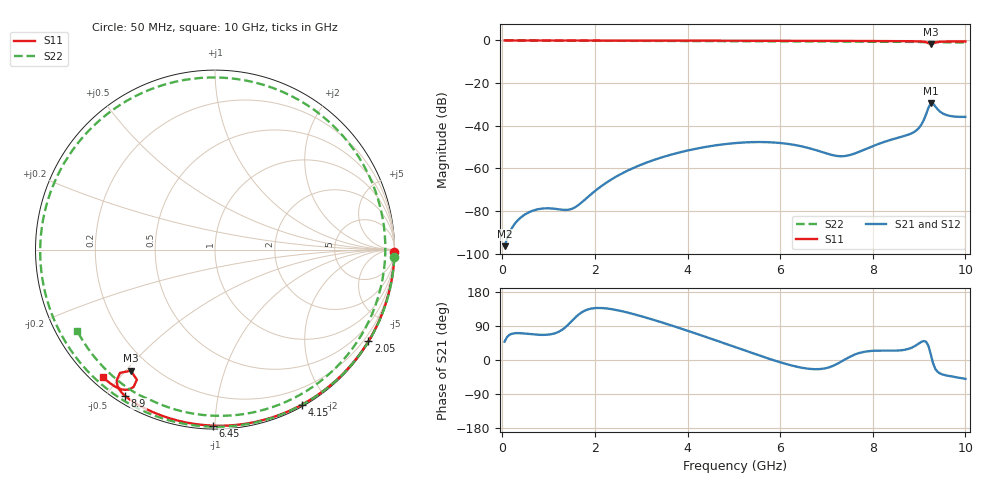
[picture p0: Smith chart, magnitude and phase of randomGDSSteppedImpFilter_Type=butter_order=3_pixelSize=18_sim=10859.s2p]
! freq	dB(S11)	phase(S11)	dB(S12)	phase(S12)
!  dB(S21)	phase(S21)	dB(S22)	phase(S22)
!S-par simulation data
#  GHz  S  DB  R 50
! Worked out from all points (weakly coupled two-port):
!   200 points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, 50 MHz to 10 GHz, reference 50 ohm
!   highest |S21| = -29.54 dB at 9.25 GHz (marker M1); lowest = -96.5 dB at 50 MHz (marker M2)
!   lowest |S11| = -1.7 dB at 9.25 GHz (marker M3), VSWR 10.24, Z = 6.2 - j25.8 ohm
!   |S11| at or under -10 dB: nowhere
!   |S22| runs from -1.0 to 0.0 dB; largest |S21 - S12| = 0
!   S11 on the Smith chart (normalised r, x): 50 MHz: open; 2.05 GHz: 0.03, -3.63; 4.15 GHz: 0.02, -1.71; 6.45 GHz: 0.02, -0.99; 8.9 GHz: 0.03, -0.56; 10 GHz: 0.03, -0.45
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0.05  -0.00 -0.8  -96.52 48.4  -96.52 48.4  -0.00 -2.4
0.5  -0.01 -7.6  -81.51 69.7  -81.51 69.7  -0.02 -24.2
1  -0.02 -15.2  -78.75 67.1  -78.75 67.1  -0.06 -47.9
1.45  -0.03 -21.9  -79.34 96.4  -79.34 96.4  -0.09 -68.8
1.75  -0.03 -26.4  -75.32 128.3  -75.32 128.3  -0.10 -82.5
2.05  -0.04 -30.8  -69.82 137.3  -69.82 137.3  -0.12 -96.1
2.7  -0.05 -40.3  -61.14 125.4  -61.14 125.4  -0.15 -125.1
3.4  -0.07 -50.2  -55.16 100.9  -55.16 100.9  -0.20 -156.6
4.15  -0.08 -60.6  -50.94 71.1  -50.94 71.1  -0.25 167.9
4.6  -0.10 -66.7  -49.23 52.3  -49.23 52.3  -0.28 145.0
5.05  -0.11 -72.7  -48.11 33.1  -48.11 33.1  -0.32 120.6
5.75  -0.14 -81.8  -47.75 3.7  -47.75 3.7  -0.38 79.5
6.45  -0.17 -90.7  -49.62 -20.0  -49.62 -20.0  -0.42 35.8
6.7  -0.18 -93.8  -51.00 -24.0  -51.00 -24.0  -0.43 20.2
7.4  -0.22 -102.4  -54.22 1.4  -54.22 1.4  -0.48 -21.7
7.9  -0.26 -108.5  -50.47 23.2  -50.47 23.2  -0.53 -49.4
8.35  -0.29 -114.0  -46.89 24.6  -46.89 24.6  -0.60 -72.5
8.9  -0.38 -121.6  -42.86 36.2  -42.86 36.2  -0.71 -98.9
9.05  -0.50 -124.5  -39.45 47.8  -39.45 47.8  -0.75 -105.9
9.25  -1.70 -124.8  -29.54 16.4  -29.54 16.4  -0.80 -114.8
9.55  -0.53 -124.8  -34.66 -39.7  -34.66 -39.7  -0.85 -128.7
10  -0.48 -131.2  -35.86 -49.8  -35.86 -49.8  -1.00 -149.3
